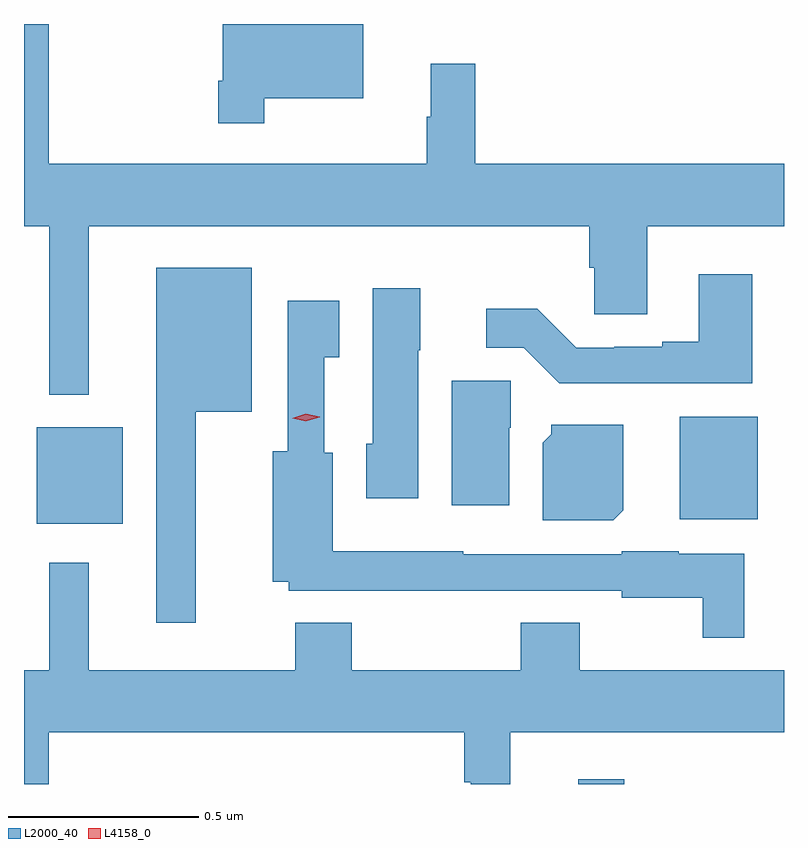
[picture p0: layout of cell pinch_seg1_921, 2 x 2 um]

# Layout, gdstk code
import gdstk
lib = gdstk.Library(unit=1e-6, precision=1e-09)
def R(c, l, rs):  # rectangles x0, y0, x1, y1
    for r in rs: c.add(gdstk.rectangle(r[:2], r[2:], *l))
def P(c, l, *ps):  # polygons
    for p in ps: c.add(gdstk.Polygon(p, *l))
L2000_40 = (2000, 40)
L4158_0 = (4158, 0)

pinch_seg1_921 = lib.new_cell('pinch_seg1_921')
R(pinch_seg1_921, L2000_40, [(574.157,523.624,574.279,523.636), (572.732,524.309,572.959,524.563), (574.424,524.321,574.63,524.59)])
P(pinch_seg1_921, L2000_40, [(573.331,525.428),(573.592,525.428),(573.592,525.624),(573.222,525.624),(573.222,525.475),(573.21,525.475),(573.21,525.363),(573.331,525.363)],
  [(572.869,525.092),(574.187,525.092),(574.187,524.982),(574.2,524.982),(574.2,524.86),(574.339,524.86),(574.339,525.092),(574.699,525.092),(574.699,525.256),(573.887,525.256),(573.887,525.52),(573.77,525.52),(573.77,525.38),(573.759,525.38),(573.759,525.256),(572.764,525.256),(572.764,525.624),(572.699,525.624),(572.699,525.092),(572.765,525.092),(572.765,524.648),(572.869,524.648)],
  [(573.151,524.603),(573.298,524.603),(573.298,524.983),(573.047,524.983),(573.047,524.049),(573.151,524.049)],
  [(574.615,524.965),(574.475,524.965),(574.475,524.788),(574.379,524.788),(574.379,524.775),(574.252,524.775),(574.252,524.772),(574.152,524.772),(574.05,524.875),(573.915,524.875),(573.915,524.772),(574.014,524.772),(574.108,524.678),(574.615,524.678)],
  [(573.736,524.766),(573.742,524.766),(573.742,524.929),(573.617,524.929),(573.617,524.52),(573.599,524.52),(573.599,524.376),(573.736,524.376)],
  [(574.594,524.23),(574.422,524.23),(574.422,524.236),(574.272,524.236),(574.272,524.229),(573.855,524.229),(573.855,524.236),(573.511,524.236),(573.511,524.496),(573.489,524.496),(573.489,524.747),(573.529,524.747),(573.529,524.896),(573.393,524.896),(573.393,524.5),(573.353,524.5),(573.353,524.156),(573.396,524.156),(573.396,524.133),(573.623,524.133),(573.623,524.132),(573.855,524.132),(573.855,524.133),(574.272,524.133),(574.272,524.114),(574.485,524.114),(574.485,524.009),(574.594,524.009)],
  [(573.976,524.562),(573.98,524.562),(573.98,524.685),(573.824,524.685),(573.824,524.358),(573.976,524.358)],
  [(574.276,524.344),(574.276,524.569),(574.086,524.569),(574.086,524.544),(574.064,524.522),(574.064,524.318),(574.25,524.318)],
  [(572.764,523.76),(573.858,523.76),(573.858,523.628),(573.875,523.628),(573.875,523.624),(573.979,523.624),(573.979,523.76),(574.699,523.76),(574.699,523.924),(574.161,523.924),(574.161,524.048),(574.006,524.048),(574.006,523.924),(573.561,523.924),(573.561,524.048),(573.413,524.048),(573.413,523.924),(572.869,523.924),(572.869,524.206),(572.765,524.206),(572.765,523.924),(572.699,523.924),(572.699,523.624),(572.764,523.624)])
P(pinch_seg1_921, L4158_0, [(573.441,524.578),(573.405,524.587),(573.405,524.587),(573.405,524.587),(573.441,524.598),(573.477,524.59),(573.477,524.59),(573.477,524.589)])

lib.write_gds('pinch_seg1_921.gds')
